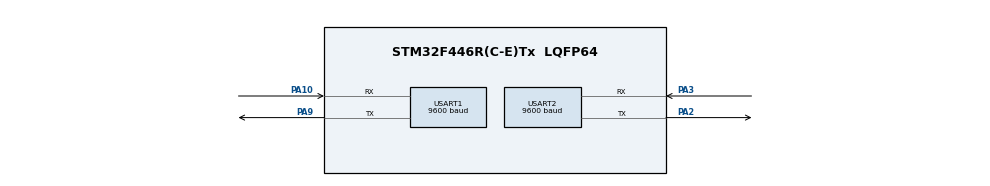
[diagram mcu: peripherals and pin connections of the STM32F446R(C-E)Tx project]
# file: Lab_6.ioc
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Mcu.Family=STM32F4
Mcu.Name=STM32F446R(C-E)Tx
Mcu.Package=LQFP64
NVIC.PriorityGroup=NVIC_PRIORITYGROUP_4
NVIC.USART1_IRQn=true\:0\:0\:false\:false\:true\:true\:true\:true
NVIC.USART2_IRQn=true\:0\:0\:false\:false\:true\:true\:true\:true
PA10.Mode=Asynchronous
PA10.Signal=USART1_RX
PA13.Mode=Serial_Wire
PA13.Signal=SYS_JTMS-SWDIO
PA14.Mode=Serial_Wire
PA14.Signal=SYS_JTCK-SWCLK
PA2.Mode=Asynchronous
PA2.Signal=USART2_TX
PA3.Mode=Asynchronous
PA3.Signal=USART2_RX
PA9.Mode=Asynchronous
PA9.Signal=USART1_TX
PH0-OSC_IN.Mode=HSE-External-Oscillator
PH0-OSC_IN.Signal=RCC_OSC_IN
PH1-OSC_OUT.Mode=HSE-External-Oscillator
PH1-OSC_OUT.Signal=RCC_OSC_OUT
ProjectManager.HeapSize=0x200
ProjectManager.StackSize=0x400
ProjectManager.TargetToolchain=STM32CubeIDE
RCC.CortexFreq_Value=16000000
RCC.USBFreq_Value=96000000
RCC.VCOOutputFreq_Value=192000000
USART1.BaudRate=9600
USART1.VirtualMode=VM_ASYNC
USART2.BaudRate=9600
USART2.VirtualMode=VM_ASYNC
board=custom

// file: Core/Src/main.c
/* USER CODE BEGIN Header */
/**
  ******************************************************************************
  * @file           : main.c
  * @brief          : Main program body
  ******************************************************************************
  * @attention
  *
  * Copyright (c) 2024 STMicroelectronics.
  * All rights reserved.
  *
  * This software is licensed under terms that can be found in the LICENSE file
  * in the root directory of this software component.
  * If no LICENSE file comes with this software, it is provided AS-IS.
  *
  ******************************************************************************
  */
/* USER CODE END Header */
#include "main.h"

UART_HandleTypeDef huart1;
UART_HandleTypeDef huart2;
uint8_t rxBuffer[10]; // Tamaño del buffer ajustable según tus necesidades
uint8_t rxIndex = 0;

void SystemClock_Config(void);
static void MX_GPIO_Init(void);
static void MX_USART2_UART_Init(void);
static void MX_USART1_UART_Init(void);

int main(void)
{

  /* MCU Configuration--------------------------------------------------------*/

  /* Reset of all peripherals, Initializes the Flash interface and the Systick. */
  HAL_Init();

  /* Configure the system clock */
  SystemClock_Config();

  /* Initialize all configured peripherals */
  MX_GPIO_Init();
  MX_USART2_UART_Init();
  MX_USART1_UART_Init();
  /* USER CODE BEGIN 2 */

  // Iniciar la recepción de datos por interrupción en UART1
   HAL_UART_Receive_IT(&huart1, &rxBuffer[rxIndex], 1);
  /* USER CODE END 2 */

  /* Infinite loop */
  while (1)
  {

  }
}

void SystemClock_Config(void)
{
  RCC_OscInitTypeDef RCC_OscInitStruct = {0};
  RCC_ClkInitTypeDef RCC_ClkInitStruct = {0};

  /** Configure the main internal regulator output voltage
  */
  __HAL_RCC_PWR_CLK_ENABLE();
  __HAL_PWR_VOLTAGESCALING_CONFIG(PWR_REGULATOR_VOLTAGE_SCALE3);

  /** Initializes the RCC Oscillators according to the specified parameters
  * in the RCC_OscInitTypeDef structure.
  */
  RCC_OscInitStruct.OscillatorType = RCC_OSCILLATORTYPE_HSI;
  RCC_OscInitStruct.HSIState = RCC_HSI_ON;
  RCC_OscInitStruct.HSICalibrationValue = RCC_HSICALIBRATION_DEFAULT;
  RCC_OscInitStruct.PLL.PLLState = RCC_PLL_NONE;
  if (HAL_RCC_OscConfig(&RCC_OscInitStruct) != HAL_OK)
  {
    Error_Handler();
  }

  /** Initializes the CPU, AHB and APB buses clocks
  */
  RCC_ClkInitStruct.ClockType = RCC_CLOCKTYPE_HCLK|RCC_CLOCKTYPE_SYSCLK
                              |RCC_CLOCKTYPE_PCLK1|RCC_CLOCKTYPE_PCLK2;
  RCC_ClkInitStruct.SYSCLKSource = RCC_SYSCLKSOURCE_HSI;
  RCC_ClkInitStruct.AHBCLKDivider = RCC_SYSCLK_DIV1;
  RCC_ClkInitStruct.APB1CLKDivider = RCC_HCLK_DIV1;
  RCC_ClkInitStruct.APB2CLKDivider = RCC_HCLK_DIV1;

  if (HAL_RCC_ClockConfig(&RCC_ClkInitStruct, FLASH_LATENCY_0) != HAL_OK)
  {
    Error_Handler();
  }
}

static void MX_USART1_UART_Init(void)
{

  huart1.Instance = USART1;
  huart1.Init.BaudRate = 9600;
  huart1.Init.WordLength = UART_WORDLENGTH_8B;
  huart1.Init.StopBits = UART_STOPBITS_1;
  huart1.Init.Parity = UART_PARITY_NONE;
  huart1.Init.Mode = UART_MODE_TX_RX;
  huart1.Init.HwFlowCtl = UART_HWCONTROL_NONE;
  huart1.Init.OverSampling = UART_OVERSAMPLING_16;
  if (HAL_UART_Init(&huart1) != HAL_OK)
  {
    Error_Handler();
  }

}

static void MX_USART2_UART_Init(void)
{

  huart2.Instance = USART2;
  huart2.Init.BaudRate = 9600;
  huart2.Init.WordLength = UART_WORDLENGTH_8B;
  huart2.Init.StopBits = UART_STOPBITS_1;
  huart2.Init.Parity = UART_PARITY_NONE;
  huart2.Init.Mode = UART_MODE_TX_RX;
  huart2.Init.HwFlowCtl = UART_HWCONTROL_NONE;
  huart2.Init.OverSampling = UART_OVERSAMPLING_16;
  if (HAL_UART_Init(&huart2) != HAL_OK)
  {
    Error_Handler();
  }

}

static void MX_GPIO_Init(void)
{

  /* GPIO Ports Clock Enable */
  __HAL_RCC_GPIOH_CLK_ENABLE();
  __HAL_RCC_GPIOA_CLK_ENABLE();

}

/* USER CODE BEGIN 4 */
void HAL_UART_RxCpltCallback(UART_HandleTypeDef *huart) {
    if (huart->Instance == USART1) {
        // Variable para almacenar el mensaje a enviar
        uint8_t txMessage[10];
        uint8_t messageLength = 0;

        // Determinar el mensaje a enviar basado en el dato recibido
        switch (rxBuffer[rxIndex]) {
            case '1':
            	HAL_UART_Transmit(&huart2, (uint8_t*)"izquierda\n", strlen("izquierda\n"), HAL_MAX_DELAY);
                break;
            case '2':
            	HAL_UART_Transmit(&huart2, (uint8_t*)"abajo\n", strlen("abajo\n"), HAL_MAX_DELAY);
                break;
            case '3':
            	HAL_UART_Transmit(&huart2, (uint8_t*)"derecha\n", strlen("derecha\n"), HAL_MAX_DELAY);
                break;
            case '4':
            	HAL_UART_Transmit(&huart2, (uint8_t*)"arriba\n", strlen("arriba\n"), HAL_MAX_DELAY);
                break;
            case 'A':
            	HAL_UART_Transmit(&huart2, (uint8_t*)"Saltar\n", strlen("Saltar\n"), HAL_MAX_DELAY);
                break;
            case 'B':
            	HAL_UART_Transmit(&huart2, (uint8_t*)"Descuartizar\n", strlen("Descuartizar\n"), HAL_MAX_DELAY);
                break;
            default:
                // Si se recibe un dato no esperado, no hacer nada
                messageLength = 0;
                break;
        }

        // Enviar el mensaje si hay algo que enviar
        if (messageLength > 0) {
            HAL_UART_Transmit(&huart2, txMessage, messageLength, HAL_MAX_DELAY);
        }

        // Reiniciar la recepción de datos por interrupción en UART1
        HAL_UART_Receive_IT(&huart1, &rxBuffer[rxIndex], 1);
    }
}

/* USER CODE END 4 */

void Error_Handler(void)
{
  __disable_irq();
  while (1)
  {
  }
}
